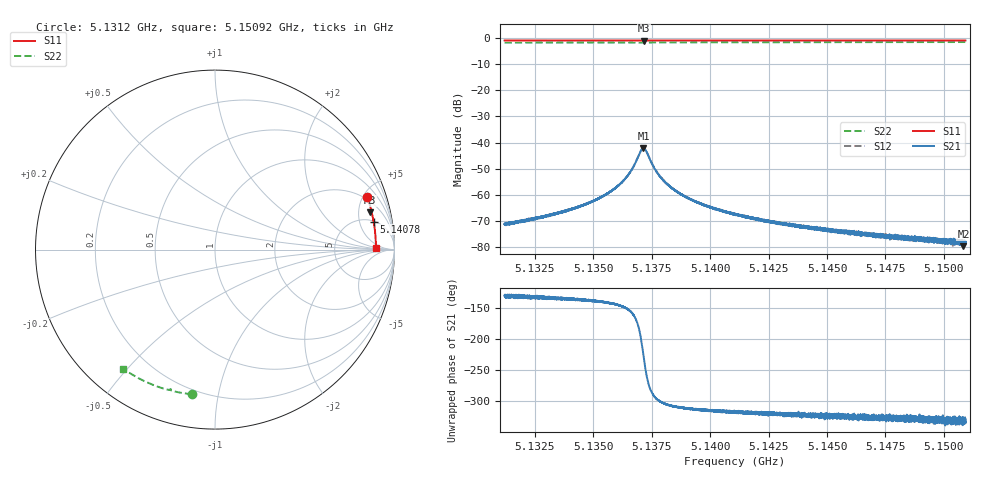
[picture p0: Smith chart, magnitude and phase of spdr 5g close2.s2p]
!Agilent Technologies,N5230A,MY46401289,A.07.50.67
!Agilent N5230A: A.07.50.67
!Date: Tuesday, January 05, 2021 01:20:09
!Correction: S11(Full 2 Port(1,2))
!S21(Full 2 Port(1,2))
!S12(Full 2 Port(1,2))
!S22(Full 2 Port(1,2))
!S2P File: Measurements: S11, S21, S12, S22:
# Hz S  MA  R 50
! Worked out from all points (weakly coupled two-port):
!   16001 points, 5.1312 GHz to 5.15092 GHz, reference 50 ohm
!   highest |S21| = -42.03 dB at 5.13714 GHz (marker M1); lowest = -79.6 dB at 5.15083 GHz (marker M2)
!   lowest |S11| = -1.0 dB at 5.13716 GHz (marker M3), VSWR 17.13, Z = 171 + j340 ohm
!   |S11| at or under -10 dB: nowhere
!   |S22| runs from -1.8 to -1.5 dB; largest |S21 - S12| = 0.0004
!   S11 on the Smith chart (normalised r, x): 5.1312 GHz: 1.79, +5.41; 5.14078 GHz: 5.13, +8.23; 5.15092 GHz: 18, +1
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5.1312e9  0.8981 19.0  0.0002782 -130.9  0.0002756 -129.1  0.8158 -99.0
5.133071e9  0.898 17.2  0.0004107 -133.4  0.0004063 -134.2  0.8183 -101.8
5.134487e9  0.8978 15.9  0.0006253 -137.6  0.0006271 -136.7  0.8201 -103.8
5.135421e9  0.8976 15.0  0.0009629 -140.6  0.000959 -139.5  0.8214 -105.2
5.136125e9  0.8972 14.3  0.001595 -146.4  0.0016 -145.5  0.822 -106.3
5.136577e9  0.8965 13.8  0.002736 -155.7  0.002749 -154.8  0.822 -107.0
5.137024e9  0.8916 13.3  0.006906 163.2  0.006868 165.6  0.8175 -107.7
5.137142e9  0.8897 13.4  0.00792 133.7  0.007967 136.4  0.8152 -107.7
5.137157e9  0.8897 13.4  0.007879 129.6  0.007961 132.3  0.8152 -107.7
5.137263e9  0.8919 13.5  0.006835 103.6  0.006971 105.8  0.8171 -107.6
5.137549e9  0.8959 13.2  0.00362 70.5  0.003688 72.0  0.822 -108.0
5.137774e9  0.8967 13.0  0.002499 61.6  0.002539 62.7  0.8233 -108.4
5.138236e9  0.8973 12.5  0.001494 53.8  0.001511 54.1  0.8246 -109.1
5.138883e9  0.8974 11.8  0.0009514 49.0  0.0009617 49.7  0.8255 -110.1
5.139754e9  0.8974 11.0  0.0006339 45.0  0.0006471 46.2  0.8266 -111.4
5.140777e9  0.8973 10.0  0.000465 43.0  0.0004615 44.6  0.8277 -112.9
5.14106e9  0.8971 9.8  0.0004319 43.0  0.0004281 43.0  0.828 -113.3
5.142337e9  0.8973 8.5  0.0003237 39.9  0.0003171 40.7  0.8294 -115.1
5.144347e9  0.8975 6.7  0.0002338 38.8  0.0002297 37.6  0.8315 -118.1
5.147634e9  0.8972 3.6  0.0001624 34.7  0.0001534 35.4  0.8346 -122.8
5.150834e9  0.8973 0.5  0.0001048 25.2  0.0001283 27.8  0.8373 -127.5
5.15092e9  0.8972 0.5  0.0001278 27.1  0.0001162 29.4  0.8374 -127.6
